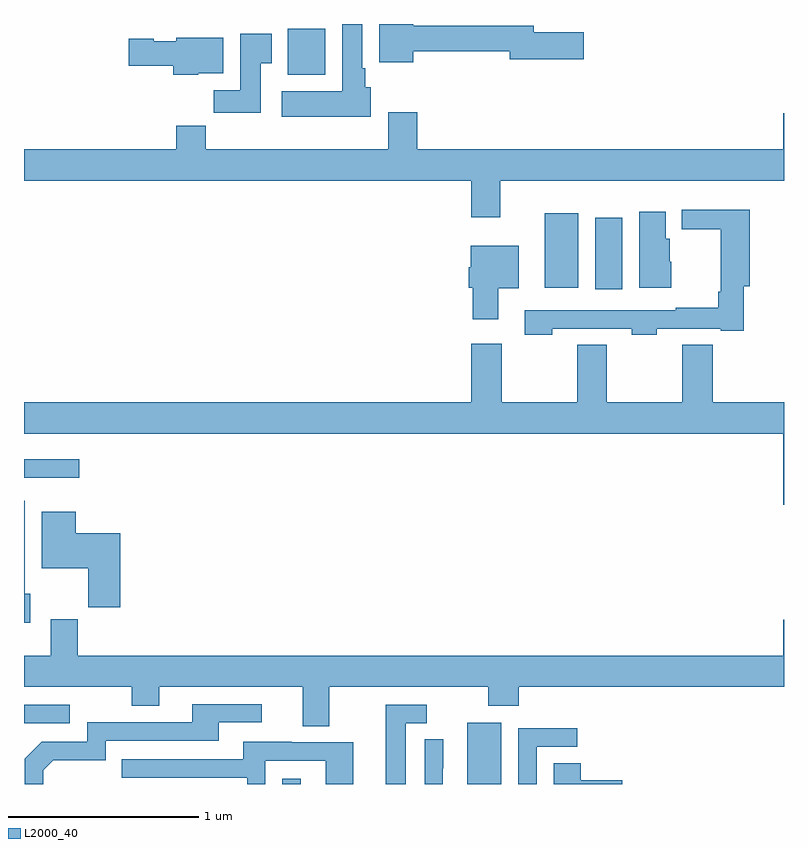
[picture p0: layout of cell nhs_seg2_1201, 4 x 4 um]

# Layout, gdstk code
import gdstk
lib = gdstk.Library(unit=1e-6, precision=1e-09)
def R(c, l, rs):  # rectangles x0, y0, x1, y1
    for r in rs: c.add(gdstk.rectangle(r[:2], r[2:], *l))
def P(c, l, *ps):  # polygons
    for p in ps: c.add(gdstk.Polygon(p, *l))
L2000_40 = (2000, 40)

nhs_seg2_1201 = lib.new_cell('nhs_seg2_1201')
R(nhs_seg2_1201, L2000_40, [(174.36,637.8,174.457,637.828), (175.334,637.8,175.513,638.122), (173,638.121,173.242,638.217), (173,639.411,173.29,639.508), (176.006,640.404,176.149,640.78), (175.742,640.412,175.918,640.804), (174.389,641.534,174.586,641.776)])
P(nhs_seg2_1201, L2000_40, [(174.826,641.466),(174.796,641.466),(174.796,641.566),(174.781,641.566),(174.781,641.8),(174.674,641.8),(174.674,641.446),(174.357,641.446),(174.357,641.312),(174.826,641.312)],
  [(175.048,641.656),(175.556,641.656),(175.556,641.614),(175.945,641.614),(175.945,641.756),(175.684,641.756),(175.684,641.792),(175.048,641.792),(175.048,641.8),(174.869,641.8),(174.869,641.6),(175.048,641.6)],
  [(174.247,641.593),(174.304,641.593),(174.304,641.749),(174.137,641.749),(174.137,641.452),(173.998,641.452),(173.998,641.334),(174.247,641.334)],
  [(173.916,641.54),(174.049,641.54),(174.049,641.728),(173.802,641.728),(173.802,641.71),(173.682,641.71),(173.682,641.723),(173.55,641.723),(173.55,641.581),(173.786,641.581),(173.786,641.534),(173.916,641.534)],
  [(175.507,640.976),(177,640.976),(177,641.329),(176.996,641.329),(176.996,641.14),(175.07,641.14),(175.07,641.335),(174.917,641.335),(174.917,641.14),(173.957,641.14),(173.957,641.264),(173.801,641.264),(173.801,641.14),(173,641.14),(173,640.976),(175.355,640.976),(175.355,640.782),(175.507,640.782)],
  [(175.779,640.197),(176.199,640.197),(176.199,640.165),(176.331,640.165),(176.331,640.197),(176.666,640.197),(176.666,640.185),(176.789,640.185),(176.789,640.421),(176.819,640.421),(176.819,640.822),(176.463,640.822),(176.463,640.72),(176.668,640.72),(176.668,640.39),(176.653,640.39),(176.653,640.306),(176.431,640.306),(176.431,640.293),(175.635,640.293),(175.635,640.165),(175.779,640.165)],
  [(176.407,640.548),(176.398,640.548),(176.398,640.671),(176.377,640.671),(176.377,640.813),(176.237,640.813),(176.237,640.412),(176.407,640.412)],
  [(175.495,640.409),(175.603,640.409),(175.603,640.633),(175.352,640.633),(175.352,640.521),(175.34,640.521),(175.34,640.413),(175.361,640.413),(175.361,640.245),(175.495,640.245)],
  [(177,639.808),(176.624,639.808),(176.624,640.112),(176.464,640.112),(176.464,639.808),(176.066,639.808),(176.066,640.112),(175.912,640.112),(175.912,639.808),(175.515,639.808),(175.515,640.117),(175.355,640.117),(175.355,639.808),(173,639.808),(173,639.644),(176.996,639.644),(176.996,639.27),(177,639.27)],
  [(173.032,638.802),(173.005,638.802),(173.005,639.292),(173,639.292),(173,638.648),(173.032,638.648)],
  [(173.507,639.121),(173.272,639.121),(173.272,639.232),(173.093,639.232),(173.093,638.936),(173.337,638.936),(173.337,638.731),(173.507,638.731)],
  [(174.607,638.312),(175.444,638.312),(175.444,638.213),(175.604,638.213),(175.604,638.312),(177,638.312),(177,638.665),(176.996,638.665),(176.996,638.476),(173.282,638.476),(173.282,638.666),(173.141,638.666),(173.141,638.476),(173,638.476),(173,638.312),(173.566,638.312),(173.566,638.213),(173.713,638.213),(173.713,638.312),(174.467,638.312),(174.467,638.104),(174.607,638.104)],
  [(173.1,637.872),(173.153,637.925),(173.43,637.925),(173.43,638.028),(174.025,638.028),(174.025,638.124),(174.25,638.124),(174.25,638.22),(173.885,638.22),(173.885,638.124),(173.334,638.124),(173.334,638.022),(173.094,638.022),(173.004,637.932),(173.004,637.8),(173.1,637.8)],
  [(175.009,638.121),(175.12,638.121),(175.12,638.217),(174.905,638.217),(174.905,637.8),(175.009,637.8)],
  [(175.698,637.995),(175.912,637.995),(175.912,638.094),(175.602,638.094),(175.602,637.8),(175.698,637.8)],
  [(175.205,637.882),(175.206,637.882),(175.206,638.036),(175.11,638.036),(175.11,637.8),(175.205,637.8)],
  [(174.27,637.923),(174.588,637.923),(174.588,637.8),(174.733,637.8),(174.733,638.019),(174.409,638.019),(174.409,638.023),(174.155,638.023),(174.155,637.929),(173.515,637.929),(173.515,637.833),(174.174,637.833),(174.174,637.8),(174.27,637.8)],
  [(176.149,637.82),(175.931,637.82),(175.931,637.91),(175.787,637.91),(175.787,637.8),(176.149,637.8)])

lib.write_gds('nhs_seg2_1201.gds')
